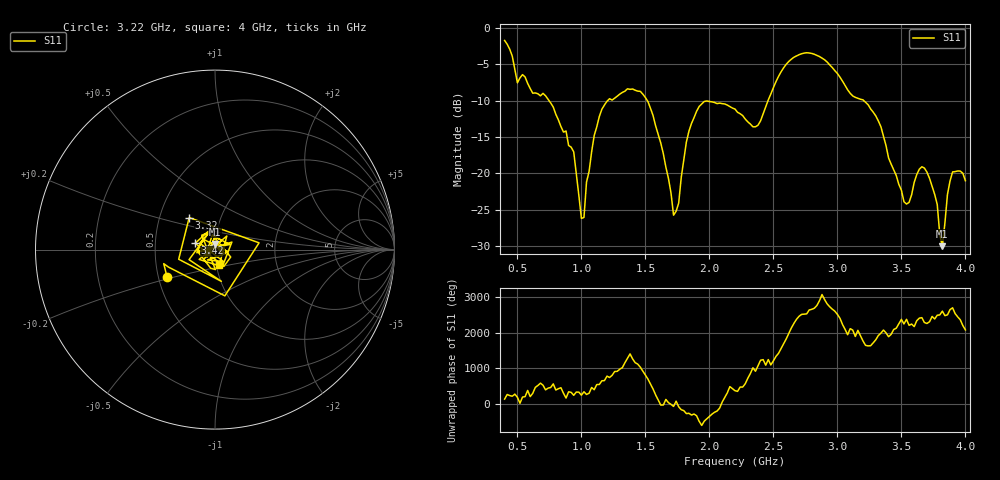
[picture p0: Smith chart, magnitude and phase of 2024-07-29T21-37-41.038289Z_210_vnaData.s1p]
!Created with skrf (http://scikit-rf.org).
# Hz S RI R 50.0
!freq ReS11 ImS11
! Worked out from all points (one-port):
!   181 points, 400 MHz to 4 GHz, reference 50 ohm
!   lowest |S11| = -30.0 dB at 3.82 GHz (marker M1), VSWR 1.07, Z = 49.7 + j3.14 ohm
!   |S11| at or under -10 dB: 746.7 MHz to 1.205 GHz (458.6 MHz wide, 47 % of centre); 1.515 GHz to 2.458 GHz (943.4 MHz wide, 47.5 % of centre); 3.206 GHz to end of sweep
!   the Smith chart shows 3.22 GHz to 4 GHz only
!   S11 on the Smith chart (normalised r, x): 3.22 GHz: 0.56, -0.19; 3.32 GHz: 0.71, +0.27; 3.42 GHz: 0.80, +0.06; 4 GHz: 1.03, -0.18
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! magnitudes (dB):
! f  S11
! 400 MHz  -1.7
! 500 MHz  -7.6
! 860 MHz  -14.3
! 940 MHz  -17.0
! 1 GHz  -26.2
! 1.02 GHz  -26.0
! 1.04 GHz  -21.2
! 1.14 GHz  -12.2
! 1.3 GHz  -9.1
! 1.52 GHz  -10.2
! 1.72 GHz  -25.7
! 1.76 GHz  -24.1
! 1.82 GHz  -15.7
! 1.92 GHz  -10.8
! 2.2 GHz  -11.2
! 2.38 GHz  -13.4
! 2.66 GHz  -4.1
! 2.88 GHz  -4.2
! 3.1 GHz  -9.0
! 3.22 GHz  -10.2
! 3.32 GHz  -12.8
! 3.42 GHz  -18.7
! 3.56 GHz  -24.0
! 3.68 GHz  -19.3
! 3.78 GHz  -24.2
! 3.82 GHz  -30.0
! 3.9 GHz  -19.8
! 4 GHz  -21.0
